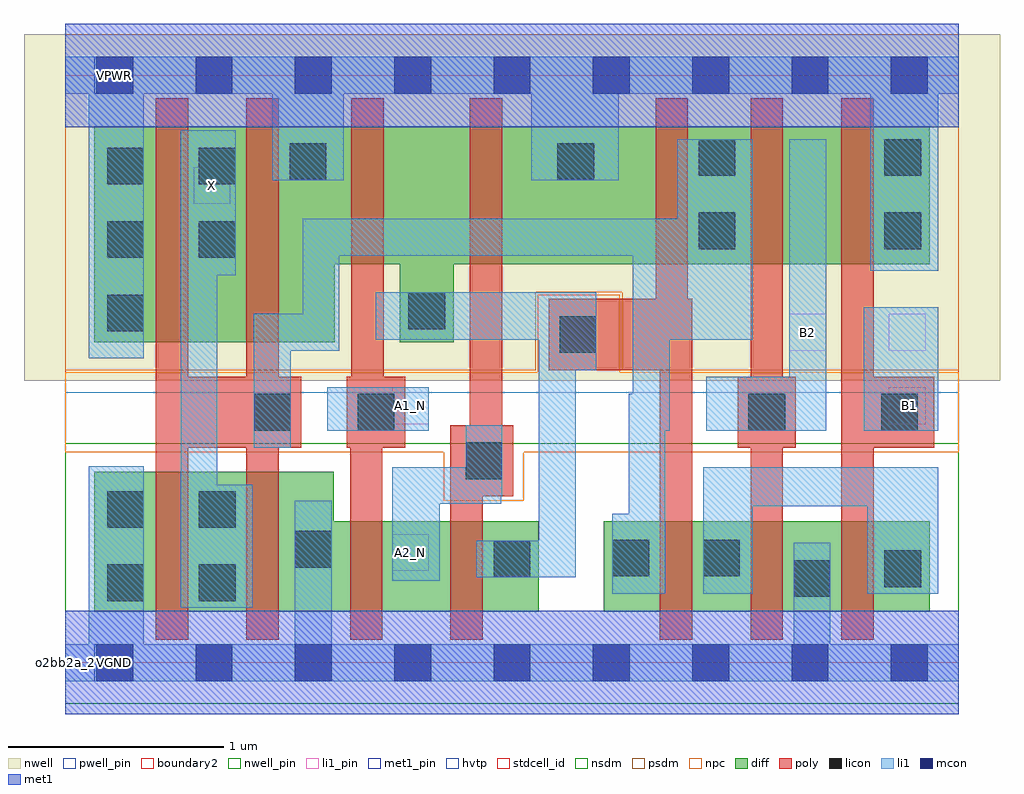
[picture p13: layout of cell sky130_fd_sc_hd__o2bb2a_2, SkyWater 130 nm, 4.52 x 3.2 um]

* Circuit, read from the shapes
.subckt sky130_fd_sc_hd__o2bb2a_2 A1_N A2_N B1 B2 VGND VNB VPB VPWR X
XM1 X n1 VGND VNB sky130_fd_pr__nfet_01v8 w=0.65 l=0.15 m=2
XM2 n2 A1_N VGND VNB sky130_fd_pr__nfet_01v8 w=0.42 l=0.15
XM3 n3 A2_N n2 VNB sky130_fd_pr__nfet_01v8 w=0.42 l=0.15
XM4 n4 n3 n1 VNB sky130_fd_pr__nfet_01v8 w=0.42 l=0.15
XM5 VGND B2 n4 VNB sky130_fd_pr__nfet_01v8 w=0.42 l=0.15
XM6 n4 B1 VGND VNB sky130_fd_pr__nfet_01v8 w=0.42 l=0.15
XM7 X n1 VPWR VPB sky130_fd_pr__pfet_01v8_hvt w=1 l=0.15 m=2
XM8 n3 A1_N VPWR VPB sky130_fd_pr__pfet_01v8_hvt w=0.64 l=0.15
XM9 VPWR A2_N n3 VPB sky130_fd_pr__pfet_01v8_hvt w=0.64 l=0.15
XM10 n1 n3 VPWR VPB sky130_fd_pr__pfet_01v8_hvt w=0.64 l=0.15
XM11 n5 B2 n1 VPB sky130_fd_pr__pfet_01v8_hvt w=0.64 l=0.15
XM12 VPWR B1 n5 VPB sky130_fd_pr__pfet_01v8_hvt w=0.64 l=0.15
.ends

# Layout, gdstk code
import gdstk
lib = gdstk.Library(unit=1e-6, precision=1e-09)
def R(c, l, rs):  # rectangles x0, y0, x1, y1
    for r in rs: c.add(gdstk.rectangle(r[:2], r[2:], *l))
def A(c, l, x, y, w, h, nx, ny, dx, dy):  # array of equal rectangles
    R(c, l, [(x+i*dx, y+j*dy, x+i*dx+w, y+j*dy+h) for i in range(nx) for j in range(ny)])
def P(c, l, *ps):  # polygons
    for p in ps: c.add(gdstk.Polygon(p, *l))
nwell_pin = (64, 16)
nwell = (64, 20)
diff = (65, 20)
poly = (66, 20)
licon = (66, 44)
li1_pin = (67, 16)
li1 = (67, 20)
mcon = (67, 44)
met1_pin = (68, 16)
met1 = (68, 20)
hvtp = (78, 44)
stdcell_id = (81, 4)
nsdm = (93, 44)
psdm = (94, 20)
npc = (95, 20)
pwell_pin = (122, 16)
boundary2 = (236, 0)

sky130_fd_sc_hd__o2bb2a_ = lib.new_cell('sky130_fd_sc_hd__o2bb2a_2')
R(sky130_fd_sc_hd__o2bb2a_, nwell_pin, [(0.135,2.635,0.305,2.805)])
R(sky130_fd_sc_hd__o2bb2a_, nwell, [(-0.19,1.305,4.33,2.91)])
R(sky130_fd_sc_hd__o2bb2a_, diff, [(2.495,0.235,4.005,0.655)])
P(sky130_fd_sc_hd__o2bb2a_, diff, [(0.135,0.235),(0.135,0.885),(1.245,0.885),(1.245,0.655),(2.195,0.655),(2.195,0.235)],
  [(0.135,1.485),(0.135,2.485),(4.005,2.485),(4.005,1.845),(1.8,1.845),(1.8,1.485),(1.55,1.485),(1.55,1.845),(1.25,1.845),(1.25,1.485)])
P(sky130_fd_sc_hd__o2bb2a_, poly, [(0.42,0.105),(0.42,2.615),(0.57,2.615),(0.57,1.325),(0.84,1.325),(0.84,2.615),(0.99,2.615),(0.99,1.325),(1.095,1.325),(1.095,0.995),(0.99,0.995),(0.99,0.105),(0.84,0.105),(0.84,0.995),(0.57,0.995),(0.57,0.105)],
  [(1.32,0.105),(1.32,0.995),(1.305,0.995),(1.305,1.325),(1.325,1.325),(1.325,2.615),(1.475,2.615),(1.475,1.325),(1.575,1.325),(1.575,0.995),(1.47,0.995),(1.47,0.105)],
  [(1.785,0.105),(1.785,1.1),(1.875,1.1),(1.875,2.615),(2.025,2.615),(2.025,1.1),(2.075,1.1),(2.075,0.77),(1.935,0.77),(1.935,0.105)],
  [(2.755,0.105),(2.755,1.355),(2.24,1.355),(2.24,1.685),(2.735,1.685),(2.735,2.615),(2.885,2.615),(2.885,1.685),(2.905,1.685),(2.905,0.105)],
  [(3.175,0.105),(3.175,0.995),(3.115,0.995),(3.115,1.325),(3.175,1.325),(3.175,2.615),(3.325,2.615),(3.325,1.325),(3.385,1.325),(3.385,0.995),(3.325,0.995),(3.325,0.105)],
  [(3.595,0.105),(3.595,2.615),(3.745,2.615),(3.745,1.325),(4.025,1.325),(4.025,0.995),(3.745,0.995),(3.745,0.105)])
A(sky130_fd_sc_hd__o2bb2a_, licon, 0.195, 1.535, 0.17, 0.17, 1, 3, 0, 0.34)
R(sky130_fd_sc_hd__o2bb2a_, licon, [(0.195,0.285,0.365,0.455), (0.62,0.285,0.79,0.455), (3.375,0.305,3.545,0.475), (3.795,0.35,3.965,0.52), (1.985,0.395,2.155,0.565), (2.535,0.4,2.705,0.57), (2.955,0.4,3.125,0.57), (1.065,0.44,1.235,0.61), (0.195,0.625,0.365,0.795), (0.62,0.625,0.79,0.795), (1.855,0.85,2.025,1.02), (0.875,1.075,1.045,1.245), (1.355,1.075,1.525,1.245), (3.165,1.075,3.335,1.245), (3.78,1.075,3.95,1.245), (2.29,1.435,2.46,1.605), (1.59,1.545,1.76,1.715), (0.62,1.875,0.79,2.045), (2.935,1.915,3.105,2.085), (3.795,1.915,3.965,2.085), (0.62,2.215,0.79,2.385), (1.04,2.235,1.21,2.405), (2.28,2.235,2.45,2.405), (2.935,2.255,3.105,2.425), (3.795,2.255,3.965,2.425)])
R(sky130_fd_sc_hd__o2bb2a_, li1_pin, [(1.515,0.425,1.685,0.595), (1.515,1.105,1.685,1.275), (3.815,1.105,3.985,1.275), (3.355,1.445,3.525,1.615), (3.815,1.445,3.985,1.615), (0.595,2.125,0.765,2.295)])
R(sky130_fd_sc_hd__o2bb2a_, li1, [(1.215,1.075,1.685,1.275), (3.7,1.075,4.045,1.645)])
P(sky130_fd_sc_hd__o2bb2a_, li1, [(0.535,0.255),(0.535,2.465),(0.79,2.465),(0.79,1.795),(0.705,1.795),(0.705,0.825),(0.87,0.825),(0.87,0.255)],
  [(1.515,0.38),(1.515,0.905),(1.855,0.905),(1.855,1.1),(2.025,1.1),(2.025,0.77),(2.02,0.77),(2.02,0.735),(1.735,0.735),(1.735,0.38)],
  [(1.905,0.395),(1.905,0.565),(2.195,0.565),(2.195,1.495),(1.44,1.495),(1.44,1.715),(2.46,1.715),(2.46,1.355),(2.365,1.355),(2.365,0.395)],
  [(2.535,0.32),(2.535,0.69),(2.61,0.69),(2.61,1.245),(2.63,1.245),(2.63,1.885),(1.27,1.885),(1.27,1.445),(1.045,1.445),(1.045,0.995),(0.875,0.995),(0.875,1.615),(1.1,1.615),(1.1,2.055),(2.835,2.055),(2.835,2.425),(3.185,2.425),(3.185,1.495),(2.8,1.495),(2.8,1.075),(2.78,1.075),(2.78,0.32)],
  [(2.955,0.32),(2.955,0.905),(4.045,0.905),(4.045,0.32),(3.715,0.32),(3.715,0.725),(3.185,0.725),(3.185,0.32)],
  [(2.97,1.075),(2.97,1.325),(3.355,1.325),(3.355,2.425),(3.525,2.425),(3.525,1.075)],
  [(0.11,1.41),(0.11,2.635),(0,2.635),(0,2.805),(4.14,2.805),(4.14,2.635),(4.045,2.635),(4.045,1.815),(3.73,1.815),(3.73,2.635),(2.565,2.635),(2.565,2.235),(2.16,2.235),(2.16,2.635),(1.29,2.635),(1.29,2.235),(0.96,2.235),(0.96,2.635),(0.365,2.635),(0.365,1.41)],
  [(0,-0.085),(0,0.085),(0.11,0.085),(0.11,0.91),(0.365,0.91),(0.365,0.085),(1.065,0.085),(1.065,0.75),(1.235,0.75),(1.235,0.085),(3.375,0.085),(3.375,0.555),(3.545,0.555),(3.545,0.085),(4.14,0.085),(4.14,-0.085)])
A(sky130_fd_sc_hd__o2bb2a_, mcon, 0.145, -0.085, 0.17, 0.17, 9, 2, 0.46, 2.72)
R(sky130_fd_sc_hd__o2bb2a_, met1_pin, [(0.135,-0.085,0.305,0.085), (0.135,2.635,0.305,2.805)])
R(sky130_fd_sc_hd__o2bb2a_, hvtp, [(0,1.25,4.14,2.72)])
R(sky130_fd_sc_hd__o2bb2a_, stdcell_id, [(0,0,4.14,2.72)])
R(sky130_fd_sc_hd__o2bb2a_, nsdm, [(0,-0.19,4.14,1.015)])
P(sky130_fd_sc_hd__o2bb2a_, psdm, [(0,1.355),(0,2.91),(4.14,2.91),(4.14,1.355),(2.58,1.355),(2.58,1.715),(2.18,1.715),(2.18,1.355)])
P(sky130_fd_sc_hd__o2bb2a_, npc, [(1.755,0.75),(1.755,0.975),(0,0.975),(0,1.345),(2.19,1.345),(2.19,1.705),(2.57,1.705),(2.57,1.345),(4.14,1.345),(4.14,0.975),(2.125,0.975),(2.125,0.75)])
R(sky130_fd_sc_hd__o2bb2a_, pwell_pin, [(0.135,-0.085,0.305,0.085)])
R(sky130_fd_sc_hd__o2bb2a_, boundary2, [(0,0,4.14,2.72)])
sky130_fd_sc_hd__o2bb2a_.add(gdstk.FlexPath([(0,0),(4.14,0)], 0.48, ends="flush", simple_path=True, layer=68, datatype=20))  # met1
sky130_fd_sc_hd__o2bb2a_.add(gdstk.FlexPath([(0,2.72),(4.14,2.72)], 0.48, ends="flush", simple_path=True, layer=68, datatype=20))  # met1
sky130_fd_sc_hd__o2bb2a_.add(gdstk.Label('VPWR', (0.23,2.72), layer=68, texttype=5))
sky130_fd_sc_hd__o2bb2a_.add(gdstk.Label('VGND', (0.23,0), layer=68, texttype=5))
sky130_fd_sc_hd__o2bb2a_.add(gdstk.Label('VPB', (0.23,2.72), layer=64, texttype=5))
sky130_fd_sc_hd__o2bb2a_.add(gdstk.Label('VNB', (0.23,0), layer=64, texttype=59))
sky130_fd_sc_hd__o2bb2a_.add(gdstk.Label('o2bb2a_2', (0,0), layer=83, texttype=44))
sky130_fd_sc_hd__o2bb2a_.add(gdstk.Label('B1', (3.91,1.19), layer=67, texttype=5))
sky130_fd_sc_hd__o2bb2a_.add(gdstk.Label('B2', (3.44,1.53), layer=67, texttype=5))
sky130_fd_sc_hd__o2bb2a_.add(gdstk.Label('A2_N', (1.6,0.51), layer=67, texttype=5))
sky130_fd_sc_hd__o2bb2a_.add(gdstk.Label('X', (0.68,2.21), layer=67, texttype=5))
sky130_fd_sc_hd__o2bb2a_.add(gdstk.Label('A1_N', (1.6,1.19), layer=67, texttype=5))

lib.write_gds('sky130_fd_sc_hd__o2bb2a_2.gds')
